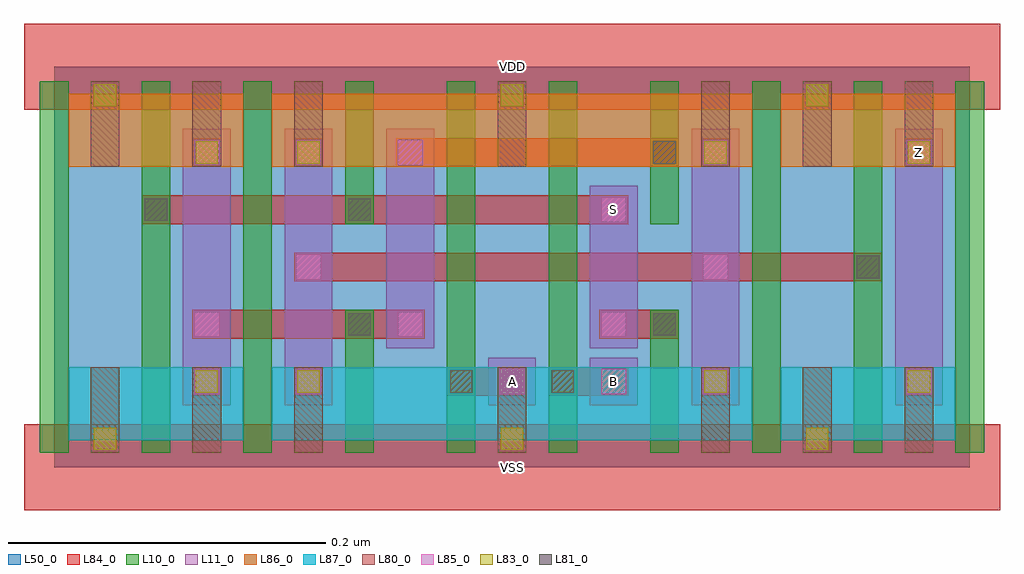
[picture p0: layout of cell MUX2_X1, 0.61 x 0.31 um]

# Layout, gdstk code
import gdstk
lib = gdstk.Library(unit=1e-6, precision=1e-09)
def R(c, l, rs):  # rectangles x0, y0, x1, y1
    for r in rs: c.add(gdstk.rectangle(r[:2], r[2:], *l))
def A(c, l, x, y, w, h, nx, ny, dx, dy):  # array of equal rectangles
    R(c, l, [(x+i*dx, y+j*dy, x+i*dx+w, y+j*dy+h) for i in range(nx) for j in range(ny)])
L10_0 = (10, 0)
L11_0 = (11, 0)
L50_0 = (50, 0)
L80_0 = (80, 0)
L81_0 = (81, 0)
L83_0 = (83, 0)
L84_0 = (84, 0)
L85_0 = (85, 0)
L86_0 = (86, 0)
L87_0 = (87, 0)

mux2_x1 = lib.new_cell('MUX2_X1')
A(mux2_x1, L10_0, -0.009, 0.009, 0.018, 0.234, 3, 1, 0.064, 0)
A(mux2_x1, L10_0, 0.439, 0.009, 0.018, 0.234, 3, 1, 0.064, 0)
R(mux2_x1, L10_0, [(0.183,0.009,0.201,0.099), (0.247,0.009,0.265,0.243), (0.311,0.009,0.329,0.243), (0.375,0.009,0.393,0.099), (0.183,0.153,0.201,0.243), (0.375,0.153,0.393,0.243)])
R(mux2_x1, L11_0, [(0.081,0.039,0.111,0.213), (0.145,0.039,0.175,0.213), (0.273,0.039,0.303,0.069), (0.337,0.039,0.367,0.069), (0.401,0.039,0.431,0.213), (0.529,0.039,0.559,0.213), (0.209,0.075,0.239,0.213), (0.337,0.075,0.367,0.177)])
R(mux2_x1, L50_0, [(0,0,0.576,0.252)])
A(mux2_x1, L80_0, 0.023, 0.009, 0.018, 0.054, 3, 2, 0.064, 0.18)
A(mux2_x1, L80_0, 0.407, 0.009, 0.018, 0.054, 3, 2, 0.064, 0.18)
R(mux2_x1, L80_0, [(0.279,0.009,0.297,0.063), (0.279,0.189,0.297,0.243)])
R(mux2_x1, L81_0, [(0.249,0.047,0.263,0.061), (0.313,0.047,0.327,0.061), (0.185,0.083,0.199,0.097), (0.377,0.083,0.391,0.097), (0.505,0.119,0.519,0.133), (0.057,0.155,0.071,0.169), (0.185,0.155,0.199,0.169), (0.377,0.191,0.391,0.205)])
R(mux2_x1, L83_0, [(0.025,0.011,0.039,0.025), (0.281,0.011,0.295,0.025), (0.473,0.011,0.487,0.025), (0.089,0.047,0.103,0.061), (0.153,0.047,0.167,0.061), (0.409,0.047,0.423,0.061), (0.537,0.047,0.551,0.061), (0.089,0.191,0.103,0.205), (0.153,0.191,0.167,0.205), (0.409,0.191,0.423,0.205), (0.537,0.191,0.551,0.205), (0.025,0.227,0.039,0.241), (0.281,0.227,0.295,0.241), (0.473,0.227,0.487,0.241)])
R(mux2_x1, L84_0, [(-0.019,-0.027,0.595,0.027), (0.087,0.045,0.105,0.063), (0.151,0.045,0.169,0.063), (0.247,0.045,0.297,0.063), (0.311,0.045,0.361,0.063), (0.407,0.045,0.425,0.063), (0.535,0.045,0.553,0.063), (0.087,0.081,0.233,0.099), (0.343,0.081,0.393,0.099), (0.151,0.117,0.521,0.135), (0.055,0.153,0.361,0.171), (0.087,0.189,0.105,0.207), (0.151,0.189,0.169,0.207), (0.215,0.189,0.393,0.207), (0.407,0.189,0.425,0.207), (0.535,0.189,0.553,0.207), (-0.019,0.225,0.595,0.279)])
A(mux2_x1, L85_0, 0.28, 0.046, 0.016, 0.016, 3, 1, 0.064, 0)
A(mux2_x1, L85_0, 0.088, 0.082, 0.016, 0.016, 3, 1, 0.128, 0)
A(mux2_x1, L85_0, 0.088, 0.19, 0.016, 0.016, 3, 1, 0.064, 0)
R(mux2_x1, L85_0, [(0.088,0.046,0.104,0.062), (0.152,0.046,0.168,0.062), (0.536,0.046,0.552,0.062), (0.152,0.118,0.168,0.134), (0.408,0.118,0.424,0.134), (0.344,0.154,0.36,0.17), (0.408,0.19,0.424,0.206), (0.536,0.19,0.552,0.206)])
R(mux2_x1, L86_0, [(0.009,0.189,0.119,0.235), (0.137,0.189,0.439,0.235), (0.457,0.189,0.567,0.235)])
R(mux2_x1, L87_0, [(0.009,0.017,0.119,0.063), (0.137,0.017,0.439,0.063), (0.457,0.017,0.567,0.063)])
mux2_x1.add(gdstk.Label('VDD', (0.288,0.252), layer=88, texttype=0))
mux2_x1.add(gdstk.Label('VSS', (0.288,0), layer=88, texttype=0))
mux2_x1.add(gdstk.Label('S', (0.352,0.162), layer=31, texttype=0))
mux2_x1.add(gdstk.Label('Z', (0.544,0.198), layer=31, texttype=0))
mux2_x1.add(gdstk.Label('A', (0.288,0.054), layer=31, texttype=0))
mux2_x1.add(gdstk.Label('B', (0.352,0.054), layer=31, texttype=0))

lib.write_gds('MUX2_X1.gds')
